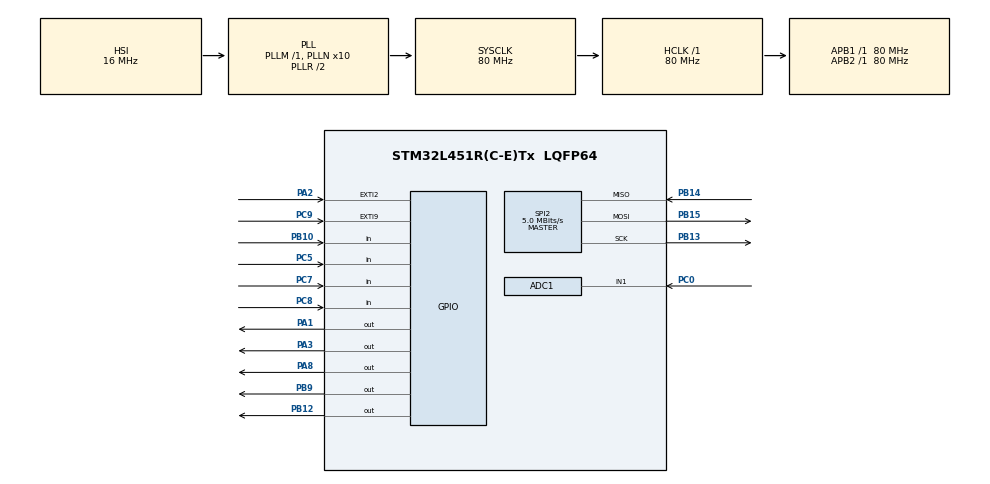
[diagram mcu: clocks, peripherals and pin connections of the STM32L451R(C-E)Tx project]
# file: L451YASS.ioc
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ADC1.Channel-0\#ChannelRegularConversion=ADC_CHANNEL_1
ADC1.NbrOfConversionFlag=1
ADC1.OffsetNumber-0\#ChannelRegularConversion=ADC_OFFSET_NONE
ADC1.Rank-0\#ChannelRegularConversion=1
ADC1.SamplingTime-0\#ChannelRegularConversion=ADC_SAMPLETIME_2CYCLES_5
ADC1.master=1
Dma.Request0=SPI2_TX
Dma.SPI2_TX.0.Direction=DMA_MEMORY_TO_PERIPH
Dma.SPI2_TX.0.Instance=DMA1_Channel5
Dma.SPI2_TX.0.MemDataAlignment=DMA_MDATAALIGN_HALFWORD
Dma.SPI2_TX.0.MemInc=DMA_MINC_ENABLE
Dma.SPI2_TX.0.Mode=DMA_CIRCULAR
Dma.SPI2_TX.0.PeriphDataAlignment=DMA_PDATAALIGN_HALFWORD
Dma.SPI2_TX.0.PeriphInc=DMA_PINC_DISABLE
Dma.SPI2_TX.0.Priority=DMA_PRIORITY_LOW
FREERTOS.BinarySemaphores01=zeroCrossingSemaphore,Dynamic,NULL
FREERTOS.Tasks01=tempMeasure,24,128,tempMeas,Default,NULL,Dynamic,NULL,NULL;ironControll,8,128,ironControl,Default,NULL,Dynamic,NULL,NULL;screen,8,128,screenTask,Default,NULL,Dynamic,NULL,NULL;controls,8,128,controlTask,Default,NULL,Dynamic,NULL,NULL;zeroCrossingTas,8,128,zeroCrossing,Default,NULL,Dynamic,NULL,NULL;measureTimerTas,8,128,timeHandler,Default,NULL,Dynamic,NULL,NULL
FREERTOS.configTOTAL_HEAP_SIZE=9000
FREERTOS.configUSE_NEWLIB_REENTRANT=1
Mcu.Family=STM32L4
Mcu.Name=STM32L451R(C-E)Tx
Mcu.Package=LQFP64
NVIC.DMA1_Channel5_IRQn=true\:5\:0\:false\:false\:true\:true\:false\:true
NVIC.PriorityGroup=NVIC_PRIORITYGROUP_4
NVIC.TIM6_DAC_IRQn=true\:15\:0\:false\:false\:true\:false\:false\:true
NVIC.TimeBase=TIM6_DAC_IRQn
NVIC.TimeBaseIP=TIM6
PA1.Signal=GPIO_Output
PA2.Signal=GPXTI2
PA3.Signal=GPIO_Output
PA8.Signal=GPIO_Output
PB10.Signal=GPIO_Input
PB12.Signal=GPIO_Output
PB13.Mode=Full_Duplex_Master
PB13.Signal=SPI2_SCK
PB14.Mode=Full_Duplex_Master
PB14.Signal=SPI2_MISO
PB15.Mode=Full_Duplex_Master
PB15.Signal=SPI2_MOSI
PB9.Signal=GPIO_Output
PC0.Signal=ADCx_IN1
PC5.Signal=GPIO_Input
PC7.Signal=GPIO_Input
PC8.Signal=GPIO_Input
PC9.Signal=GPXTI9
ProjectManager.HeapSize=0x200
ProjectManager.StackSize=0x400
ProjectManager.TargetToolchain=STM32CubeIDE
RCC.ADCFreq_Value=64000000
RCC.AHBFreq_Value=80000000
RCC.APB1Freq_Value=80000000
RCC.APB1TimFreq_Value=80000000
RCC.APB2Freq_Value=80000000
RCC.APB2TimFreq_Value=80000000
RCC.CortexFreq_Value=80000000
RCC.HCLKFreq_Value=80000000
RCC.HSE_VALUE=8000000
RCC.HSI48_VALUE=48000000
RCC.HSI_VALUE=16000000
RCC.LSE_VALUE=32768
RCC.MSI_VALUE=4000000
RCC.PLLN=10
RCC.PLLSourceVirtual=RCC_PLLSOURCE_HSI
RCC.SYSCLKFreq_VALUE=80000000
RCC.SYSCLKSource=RCC_SYSCLKSOURCE_PLLCLK
RCC.VCOOutputFreq_Value=160000000
SH.ADCx_IN1.0=ADC1_IN1,IN1-Single-Ended
SPI2.BaudRatePrescaler=SPI_BAUDRATEPRESCALER_16
SPI2.CalculateBaudRate=5.0 MBits/s
SPI2.DataSize=SPI_DATASIZE_8BIT
SPI2.Direction=SPI_DIRECTION_2LINES
SPI2.Mode=SPI_MODE_MASTER
SPI2.VirtualType=VM_MASTER
VP_FREERTOS_VS_CMSIS_V2.Mode=CMSIS_V2
VP_SYS_VS_tim6.Mode=TIM6
board=custom

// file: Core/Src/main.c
/* USER CODE BEGIN Header */
/**
  ******************************************************************************
  * @file           : main.c
  * @brief          : Main program body
  ******************************************************************************
  * @attention
  *
  * <h2><center>&copy; Copyright (c) 2021 STMicroelectronics.
  * All rights reserved.</center></h2>
  *
  * This software component is licensed by ST under BSD 3-Clause license,
  * the "License"; You may not use this file except in compliance with the
  * License. You may obtain a copy of the License at:
  *                        opensource.org/licenses/BSD-3-Clause
  *
  ******************************************************************************
  */
/* USER CODE END Header */
#include "main.h"
#include "cmsis_os.h"

/* USER CODE BEGIN Includes */
#include <stdio.h>
#include <stdlib.h>
#include <string.h>
#include <stdbool.h>
#include "ili9163.h"
#include "pid.h"

/* USER CODE END Includes */

/* USER CODE BEGIN PD */
#define RTP_CS_GPIO GPIOB
#define LCD_CS_GPIO GPIOB
#define RTP_PIN GPIO_PIN_12
#define LCD_PIN GPIO_PIN_9

#define PID_KP 4.0f
#define PID_KI 0.045f
#define PID_KD 0.0475f

#define PID_TAU 0.02f
#define PID_SAMPLE_TIME 0.12f

#define SLEEP_TEMP 150

#define SAFETY_COUNTER 5

/* USER CODE END PD */

ADC_HandleTypeDef hadc1;

SPI_HandleTypeDef hspi2;
DMA_HandleTypeDef hdma_spi2_tx;

/* Definitions for tempMeasure */
osThreadId_t tempMeasureHandle;
const osThreadAttr_t tempMeasure_attributes = {
  .name = "tempMeasure",
  .stack_size = 128 * 8,
  .priority = (osPriority_t) osPriorityNormal,
};
/* Definitions for ironControll */
osThreadId_t ironControllHandle;
const osThreadAttr_t ironControll_attributes = {
  .name = "ironControll",
  .stack_size = 128 * 8,
  .priority = (osPriority_t) osPriorityLow,
};

osThreadId_t safetyCutoffHandle;
const osThreadAttr_t safetyCutoff_attributes = {
  .name = "safetyCutoff",
  .stack_size = 128 * 8,
  .priority = (osPriority_t) osPriorityLow,
};
/* Definitions for screen */
osThreadId_t screenHandle;
const osThreadAttr_t screen_attributes = {
  .name = "screen",
  .stack_size = 128 * 8,
  .priority = (osPriority_t) osPriorityLow,
};
/* Definitions for controls */
osThreadId_t controlsHandle;
const osThreadAttr_t controls_attributes = {
  .name = "controls",
  .stack_size = 128 * 8,
  .priority = (osPriority_t) osPriorityLow,
};
/* Definitions for zeroCrossingTas */
osThreadId_t zeroCrossingTasHandle;
const osThreadAttr_t zeroCrossingTas_attributes = {
  .name = "zeroCrossingTas",
  .stack_size = 128 * 8,
  .priority = (osPriority_t) osPriorityLow,
};
/* Definitions for measureTimerTas */
osThreadId_t measureTimerTasHandle;
const osThreadAttr_t measureTimerTas_attributes = {
  .name = "measureTimerTas",
  .stack_size = 128 * 8,
  .priority = (osPriority_t) osPriorityLow,
};
/* Definitions for zeroCrossingSemaphore */
osSemaphoreId_t zeroCrossingSemaphoreHandle;
const osSemaphoreAttr_t zeroCrossingSemaphore_attributes = {
  .name = "zeroCrossingSemaphore"
};
/* USER CODE BEGIN PV */

uint8_t SPI_DMA_FL = 0;
uint32_t SPI_DMA_CNT=1;
uint16_t setTemp = 350;
bool canSwitch = false;
bool heaterOn = false;
bool measuringTemp = false;
bool measureInProgress = false;
bool sleepMode = false;
uint16_t currentTemp = 0;
uint16_t lastTemp = 0;

uint16_t powerLevel = 0;

PIDController ironPID;

uint16_t a = 0;
uint16_t b = 0;
/* USER CODE END PV */

void SystemClock_Config(void);
static void MX_GPIO_Init(void);
static void MX_ADC1_Init(void);
static void MX_SPI2_Init(void);
static void MX_DMA_Init(void);
void tempMeas(void *argument);
void ironControl(void *argument);
void safetyCutoff(void *argument);
void screenTask(void *argument);
void controlTask(void *argument);
void zeroCrossing(void *argument);

/* USER CODE BEGIN 0 */
void HAL_SPI_TxCpltCallback(SPI_HandleTypeDef* hspi) // Your TxCpltCallback
{
    SPI_DMA_CNT--;
    if (SPI_DMA_CNT == 0) {
        HAL_SPI_DMAStop(&hspi2);
        SPI_DMA_CNT = 1;
        SPI_DMA_FL = 1;
    }
}

uint8_t map(uint8_t value, uint8_t max, uint8_t newMax) {
	return ((value * newMax) / max);
}

uint16_t getTemp() {
	return (uint16_t) ((float)currentTemp * 1000 / 1241) * 0.106 + 13;
}
/* USER CODE END 0 */

int main(void)
{

  /* MCU Configuration--------------------------------------------------------*/

  /* Reset of all peripherals, Initializes the Flash interface and the Systick. */
  HAL_Init();

  /* Configure the system clock */
  SystemClock_Config();

  /* Initialize all configured peripherals */
  MX_DMA_Init();
  MX_GPIO_Init();
  MX_ADC1_Init();
  MX_SPI2_Init();

  /* USER CODE BEGIN 2 */

  ILI9163_init(0);

  PID_init(&ironPID);

  ironPID.max = 100;
  ironPID.min = 0;
  ironPID.Kp = PID_KP;
  ironPID.Ki = PID_KI;
  ironPID.Kd = PID_KD;
  ironPID.tau = PID_TAU;
  ironPID.T = PID_SAMPLE_TIME;

  /* USER CODE END 2 */

  /* Init scheduler */
  osKernelInitialize();

  /* Create the semaphores(s) */
  /* creation of zeroCrossingSemaphore */
  zeroCrossingSemaphoreHandle = osSemaphoreNew(1, 1, &zeroCrossingSemaphore_attributes);

  /* Create the thread(s) */
  /* creation of tempMeasure */
  tempMeasureHandle = osThreadNew(tempMeas, NULL, &tempMeasure_attributes);

  /* creation of ironControll */
  ironControllHandle = osThreadNew(ironControl, NULL, &ironControll_attributes);

  safetyCutoffHandle = osThreadNew(safetyCutoff, NULL, &safetyCutoff_attributes);

  /* creation of screen */
  screenHandle = osThreadNew(screenTask, NULL, &screen_attributes);

  /* creation of controls */
  controlsHandle = osThreadNew(controlTask, NULL, &controls_attributes);

  /* creation of zeroCrossingTas */
  zeroCrossingTasHandle = osThreadNew(zeroCrossing, NULL, &zeroCrossingTas_attributes);

  /* Start scheduler */
  osKernelStart();

  /* We should never get here as control is now taken by the scheduler */
  /* Infinite loop */
  while (1)
  {

  }
}

void SystemClock_Config(void)
{
  RCC_OscInitTypeDef RCC_OscInitStruct = {0};
  RCC_ClkInitTypeDef RCC_ClkInitStruct = {0};

  /** Configure the main internal regulator output voltage
  */
  if (HAL_PWREx_ControlVoltageScaling(PWR_REGULATOR_VOLTAGE_SCALE1) != HAL_OK)
  {
    Error_Handler();
  }
  /** Initializes the RCC Oscillators according to the specified parameters
  * in the RCC_OscInitTypeDef structure.
  */
  RCC_OscInitStruct.OscillatorType = RCC_OSCILLATORTYPE_HSI;
  RCC_OscInitStruct.HSIState = RCC_HSI_ON;
  RCC_OscInitStruct.HSICalibrationValue = RCC_HSICALIBRATION_DEFAULT;
  RCC_OscInitStruct.PLL.PLLState = RCC_PLL_ON;
  RCC_OscInitStruct.PLL.PLLSource = RCC_PLLSOURCE_HSI;
  RCC_OscInitStruct.PLL.PLLM = 1;
  RCC_OscInitStruct.PLL.PLLN = 10;
  RCC_OscInitStruct.PLL.PLLP = RCC_PLLP_DIV7;
  RCC_OscInitStruct.PLL.PLLQ = RCC_PLLQ_DIV2;
  RCC_OscInitStruct.PLL.PLLR = RCC_PLLR_DIV2;
  if (HAL_RCC_OscConfig(&RCC_OscInitStruct) != HAL_OK)
  {
    Error_Handler();
  }
  /** Initializes the CPU, AHB and APB buses clocks
  */
  RCC_ClkInitStruct.ClockType = RCC_CLOCKTYPE_HCLK|RCC_CLOCKTYPE_SYSCLK
                              |RCC_CLOCKTYPE_PCLK1|RCC_CLOCKTYPE_PCLK2;
  RCC_ClkInitStruct.SYSCLKSource = RCC_SYSCLKSOURCE_PLLCLK;
  RCC_ClkInitStruct.AHBCLKDivider = RCC_SYSCLK_DIV1;
  RCC_ClkInitStruct.APB1CLKDivider = RCC_HCLK_DIV1;
  RCC_ClkInitStruct.APB2CLKDivider = RCC_HCLK_DIV1;

  if (HAL_RCC_ClockConfig(&RCC_ClkInitStruct, FLASH_LATENCY_4) != HAL_OK)
  {
    Error_Handler();
  }
}

static void MX_ADC1_Init(void)
{

  ADC_ChannelConfTypeDef sConfig = {0};

  /** Common config
  */
  hadc1.Instance = ADC1;
  hadc1.Init.ClockPrescaler = ADC_CLOCK_ASYNC_DIV32;
  hadc1.Init.Resolution = ADC_RESOLUTION_12B;
  hadc1.Init.DataAlign = ADC_DATAALIGN_RIGHT;
  hadc1.Init.ScanConvMode = ADC_SCAN_DISABLE;
  hadc1.Init.EOCSelection = ADC_EOC_SINGLE_CONV;
  hadc1.Init.LowPowerAutoWait = DISABLE;
  hadc1.Init.ContinuousConvMode = DISABLE;
  hadc1.Init.NbrOfConversion = 1;
  hadc1.Init.DiscontinuousConvMode = DISABLE;
  hadc1.Init.ExternalTrigConv = ADC_SOFTWARE_START;
  hadc1.Init.ExternalTrigConvEdge = ADC_EXTERNALTRIGCONVEDGE_NONE;
  hadc1.Init.DMAContinuousRequests = DISABLE;
  hadc1.Init.Overrun = ADC_OVR_DATA_PRESERVED;
  hadc1.Init.OversamplingMode = DISABLE;
  if (HAL_ADC_Init(&hadc1) != HAL_OK)
  {
    Error_Handler();
  }
  /** Configure Regular Channel
  */
  sConfig.Channel = ADC_CHANNEL_1;
  sConfig.Rank = ADC_REGULAR_RANK_1;
  sConfig.SamplingTime = ADC_SAMPLETIME_2CYCLES_5;
  sConfig.SingleDiff = ADC_SINGLE_ENDED;
  sConfig.OffsetNumber = ADC_OFFSET_NONE;
  sConfig.Offset = 0;
  if (HAL_ADC_ConfigChannel(&hadc1, &sConfig) != HAL_OK)
  {
    Error_Handler();
  }

}

static void MX_SPI2_Init(void)
{

  /* SPI2 parameter configuration*/
  hspi2.Instance = SPI2;
  hspi2.Init.Mode = SPI_MODE_MASTER;
  hspi2.Init.Direction = SPI_DIRECTION_2LINES;
  hspi2.Init.DataSize = SPI_DATASIZE_8BIT;
  hspi2.Init.CLKPolarity = SPI_POLARITY_LOW;
  hspi2.Init.CLKPhase = SPI_PHASE_1EDGE;
  hspi2.Init.NSS = SPI_NSS_SOFT;
  hspi2.Init.BaudRatePrescaler = SPI_BAUDRATEPRESCALER_16;
  hspi2.Init.FirstBit = SPI_FIRSTBIT_MSB;
  hspi2.Init.TIMode = SPI_TIMODE_DISABLE;
  hspi2.Init.CRCCalculation = SPI_CRCCALCULATION_DISABLE;
  hspi2.Init.CRCPolynomial = 7;
  hspi2.Init.CRCLength = SPI_CRC_LENGTH_DATASIZE;
  hspi2.Init.NSSPMode = SPI_NSS_PULSE_ENABLE;
  if (HAL_SPI_Init(&hspi2) != HAL_OK)
  {
    Error_Handler();
  }

}

static void MX_DMA_Init(void)
{

  /* DMA controller clock enable */
  __HAL_RCC_DMA1_CLK_ENABLE();

  /* DMA interrupt init */
  /* DMA1_Channel5_IRQn interrupt configuration */
  HAL_NVIC_SetPriority(DMA1_Channel5_IRQn, 5, 0);
  HAL_NVIC_EnableIRQ(DMA1_Channel5_IRQn);

}

static void MX_GPIO_Init(void)
{
  GPIO_InitTypeDef GPIO_InitStruct = {0};

  /* GPIO Ports Clock Enable */
  __HAL_RCC_GPIOC_CLK_ENABLE();
  __HAL_RCC_GPIOA_CLK_ENABLE();
  __HAL_RCC_GPIOB_CLK_ENABLE();

  /*Configure GPIO pin Output Level */
  HAL_GPIO_WritePin(GPIOA, GPIO_PIN_1|GPIO_PIN_3|GPIO_PIN_8, GPIO_PIN_RESET);

  /*Configure GPIO pin Output Level */
  HAL_GPIO_WritePin(GPIOB, GPIO_PIN_12|GPIO_PIN_9, GPIO_PIN_RESET);

  /*Configure GPIO pins : PA1 PA3 PA8 */
  GPIO_InitStruct.Pin = GPIO_PIN_1|GPIO_PIN_3|GPIO_PIN_8;
  GPIO_InitStruct.Mode = GPIO_MODE_OUTPUT_PP;
  GPIO_InitStruct.Pull = GPIO_NOPULL;
  GPIO_InitStruct.Speed = GPIO_SPEED_FREQ_LOW;
  HAL_GPIO_Init(GPIOA, &GPIO_InitStruct);

  /*Configure GPIO pin : PA2 */
  GPIO_InitStruct.Pin = GPIO_PIN_2;
  GPIO_InitStruct.Mode = GPIO_MODE_IT_RISING;
  GPIO_InitStruct.Pull = GPIO_NOPULL;
  HAL_GPIO_Init(GPIOA, &GPIO_InitStruct);

  /*Configure GPIO pins : PC5 PC7 PC8 */
  GPIO_InitStruct.Pin = GPIO_PIN_5|GPIO_PIN_7|GPIO_PIN_8;
  GPIO_InitStruct.Mode = GPIO_MODE_INPUT;
  GPIO_InitStruct.Pull = GPIO_NOPULL;
  HAL_GPIO_Init(GPIOC, &GPIO_InitStruct);

  /*Configure GPIO pin : PB10 */
  GPIO_InitStruct.Pin = GPIO_PIN_10;
  GPIO_InitStruct.Mode = GPIO_MODE_INPUT;
  GPIO_InitStruct.Pull = GPIO_NOPULL;
  HAL_GPIO_Init(GPIOB, &GPIO_InitStruct);

  /*Configure GPIO pins : PB12 PB9 */
  GPIO_InitStruct.Pin = GPIO_PIN_12|GPIO_PIN_9;
  GPIO_InitStruct.Mode = GPIO_MODE_OUTPUT_PP;
  GPIO_InitStruct.Pull = GPIO_NOPULL;
  GPIO_InitStruct.Speed = GPIO_SPEED_FREQ_LOW;
  HAL_GPIO_Init(GPIOB, &GPIO_InitStruct);

  /*Configure GPIO pin : PC9 */
  GPIO_InitStruct.Pin = GPIO_PIN_9;
  GPIO_InitStruct.Mode = GPIO_MODE_IT_RISING;
  GPIO_InitStruct.Pull = GPIO_NOPULL;
  HAL_GPIO_Init(GPIOC, &GPIO_InitStruct);

}

void tempMeas(void *argument)
{
  /* USER CODE BEGIN 5 */
  /* Infinite loop */
	osDelay(50);
  for(;;)
  {

	  measuringTemp = true;
	  osDelay(20);

	  if (heaterOn) {
		  osDelay(1);
		  while (heaterOn) {
			  measuringTemp = true;
			  osDelay(1);
		  }
	  }

	  uint32_t sum = 0;
	  uint8_t avgCount = 10;

	  for (int i = 0; i < avgCount; i++) {
		  HAL_ADC_Start(&hadc1);
		  HAL_ADC_PollForConversion(&hadc1, 100);
		  sum += HAL_ADC_GetValue(&hadc1);
	  }

	  // Returns 2048 = 2 ^ 11
	  currentTemp = sum / avgCount;

	  measuringTemp = false;
	  osDelay(100);

  }
  /* USER CODE END 5 */
}

void ironControl(void *argument)
{
  /* USER CODE BEGIN ironControl */

	// Add startup delay.
	osDelay(3000);

	// If temperature not reading correctly, reboot
	if (getTemp() > 100) {
		HAL_NVIC_SystemReset();
	}
  /* Infinite loop */
	for (;;) {
		powerLevel = (uint16_t)PID_update(&ironPID, sleepMode ? SLEEP_TEMP : setTemp, getTemp());

		// Turn off heater if measuring temperature
		if (measuringTemp) {
			heaterOn = false;
			HAL_GPIO_WritePin(GPIOA, GPIO_PIN_8, GPIO_PIN_RESET);
			osDelay(1);
		} else {

			// Wait for zero crossing
			while (HAL_GPIO_ReadPin(GPIOC, GPIO_PIN_5) != GPIO_PIN_SET) {
				;
			}
			osDelay(8);

			heaterOn = true;
			uint16_t powerDelay = powerLevel / 10;

			HAL_GPIO_WritePin(GPIOA, GPIO_PIN_8, GPIO_PIN_SET);
			osDelay(powerDelay* 10);

			while (HAL_GPIO_ReadPin(GPIOC, GPIO_PIN_5) != GPIO_PIN_SET) {
				;
			}
			HAL_GPIO_WritePin(GPIOA, GPIO_PIN_8, GPIO_PIN_RESET);

			osDelay(100 - (powerDelay * 10));

		}
	}
  /* USER CODE END ironControl */
}

void safetyCutoff(void *argument)
{
  /* USER CODE BEGIN ironControl */
  /* Infinite loop */
	for (;;) {

		// If heater is on at full power for over a second without a temperature change....

		if (powerLevel < 90) { // full power >= 90
			osDelay(100);
			continue;
		}

		// Power level is over 90%
		lastTemp =  getTemp();
		osDelay(50);

		// Check to make sure temp is changing
		uint8_t sameCounter = 0;

		for (uint8_t i = 0; i < SAFETY_COUNTER; i++) {

			if (abs(lastTemp - getTemp()) <= 1 && powerLevel >= 90) {
				sameCounter++;
			}

			lastTemp =  getTemp();
			osDelay(100);
		}

		// reset the MCU if that is the case.
		if (sameCounter >= (SAFETY_COUNTER - 1)) {
			// turn off iron
			heaterOn = false;
			measuringTemp = true;
			HAL_GPIO_WritePin(GPIOA, GPIO_PIN_8, GPIO_PIN_RESET);

			// Shutdown
			HAL_NVIC_SystemReset();
		}
	}
  /* USER CODE END ironControl */
}

void screenTask(void *argument)
{
  /* USER CODE BEGIN screenTask */
  /* Infinite loop */
  for(;;)
  {

	  HAL_GPIO_WritePin(RTP_CS_GPIO, RTP_PIN, 1);

	  ILI9163_newFrame();
	  ILI9163_fillRect(0,  ILI9163_HEIGHT - 20, map(powerLevel, 100, ILI9163_WIDTH), ILI9163_HEIGHT, ORANGE);
	  ILI9163_drawRect(0,  ILI9163_HEIGHT - 20, ILI9163_WIDTH, ILI9163_HEIGHT, 1, ORANGE);

	  if (sleepMode) {
		  ILI9163_fillRect(0,  0, (4 * ILI9163_WIDTH) / 10, 28, GREEN);
		  ILI9163_drawStringF(4, 5, Font_11x18, WHITE, "%s", "SLEEP");
	  }

	  ILI9163_drawStringF(ILI9163_WIDTH - 80, 10, Font_7x10, BLACK, "Set: %hu C", setTemp);

//	  ILI9163_drawStringF(80, 80, Font_7x10, BLACK, "%humV", currentTemp * 1000 / 1241);
//	  ILI9163_drawStringF(80, 60, Font_7x10, BLACK, "%hu%", powerLevel);
//	  ILI9163_drawStringF(100, 60, Font_7x10, BLACK, "%hu%", (powerLevel / 10)*10);

	  ILI9163_drawStringF(45, 55, Font_16x26, BLACK, "%huC", getTemp());

	  ILI9163_render();

	  osDelay(5);
  }
  /* USER CODE END screenTask */
}

void controlTask(void *argument)
{
  /* USER CODE BEGIN controlTask */
  /* Infinite loop */
  for(;;)
  {
	  if (HAL_GPIO_ReadPin(GPIOC, GPIO_PIN_8) == GPIO_PIN_RESET) {
	  		if (HAL_GPIO_ReadPin(GPIOC, GPIO_PIN_7) == GPIO_PIN_RESET) {
	  			while (HAL_GPIO_ReadPin(GPIOC, GPIO_PIN_7) == GPIO_PIN_RESET){};
	  			while (HAL_GPIO_ReadPin(GPIOC, GPIO_PIN_8) == GPIO_PIN_RESET) {};

	  			setTemp -= 5;
	  			osDelay(1);

	  		}
	  		else if (HAL_GPIO_ReadPin(GPIOC, GPIO_PIN_7) == GPIO_PIN_SET) {
	  			while (HAL_GPIO_ReadPin(GPIOC, GPIO_PIN_7) == GPIO_PIN_SET) {};
				while (HAL_GPIO_ReadPin(GPIOC, GPIO_PIN_8) == GPIO_PIN_RESET) {};
				while (HAL_GPIO_ReadPin(GPIOC, GPIO_PIN_7) == GPIO_PIN_RESET) {};

				setTemp += 5;

				osDelay(1);

			}
	  	}
	  if (setTemp >= 450) {
		  setTemp = 450;
	  } else if (setTemp <= 0) {
		  setTemp = 0;
	  }

    osDelay(1);
  }
  /* USER CODE END controlTask */
}

void zeroCrossing(void *argument)
{
  /* USER CODE BEGIN zeroCrossing */
  /* Infinite loop */
  for(;;)
  {
	  if (HAL_GPIO_ReadPin(GPIOB, GPIO_PIN_10) == GPIO_PIN_RESET) {
		  sleepMode = true;
	  } else {
		  sleepMode = false;
	  }
//	  if (HAL_GPIO_ReadPin(GPIOC, GPIO_PIN_5) == GPIO_PIN_SET) {
//		  // Can switch here
//		  canSwitch = true;
////		  osSemaphoreRelease(zeroCrossingSemaphoreHandle);
//		  a++;
//
//	  } else {
//		  canSwitch = false;
////		  osSemaphoreAcquire(zeroCrossingSemaphoreHandle, osWaitForever);
//		  b++;
//		  // Cannot switch here
//	  }
	  osDelay(5);
  }
  /* USER CODE END zeroCrossing */
}

void HAL_TIM_PeriodElapsedCallback(TIM_HandleTypeDef *htim)
{
  if (htim->Instance == TIM6) {
    HAL_IncTick();
  }
}

void Error_Handler(void)
{
  __disable_irq();
  while (1)
  {
  }
}

/************************ (C) COPYRIGHT STMicroelectronics *****END OF FILE****/
